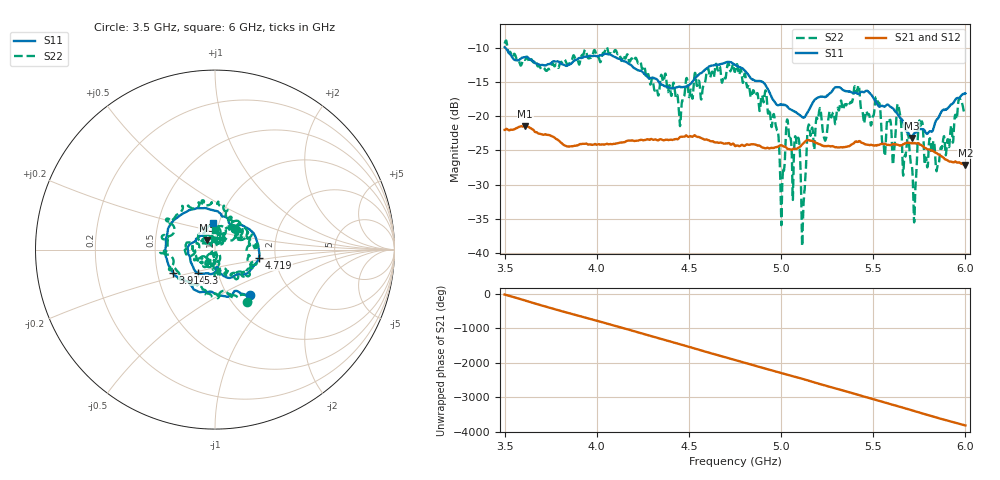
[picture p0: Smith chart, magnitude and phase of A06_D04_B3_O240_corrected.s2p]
! Created with skrf 1.9.0 (http://scikit-rf.org).
# Hz S RI R 50.0
!freq ReS11 ImS11 ReS21 ImS21 ReS12 ImS12 ReS22 ImS22
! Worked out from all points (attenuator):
!   1601 points, 3.5 GHz to 6 GHz, reference 50 ohm
!   highest |S21| = -21.45 dB at 3.611 GHz (marker M1); lowest = -27.1 dB at 6 GHz (marker M2)
!   lowest |S11| = -23.2 dB at 5.708 GHz (marker M3), VSWR 1.15, Z = 45.3 + j4.68 ohm
!   |S11| at or under -10 dB: 3.505 GHz to end of sweep
!   |S22| runs from -39.0 to -8.9 dB; largest |S21 - S12| = 0.0011
!   S11 on the Smith chart (normalised r, x): 3.5 GHz: 1.26, -0.71; 3.914 GHz: 0.60, -0.17; 4.719 GHz: 1.64, -0.15; 5.3 GHz: 0.80, -0.22; 6 GHz: 0.94, +0.28
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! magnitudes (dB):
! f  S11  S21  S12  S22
! 3.5 GHz  -9.9  -22.0  -22.0  -9.4
! 3.611 GHz  -11.3  -21.5  -21.5  -11.8
! 3.914 GHz  -11.5  -24.1  -24.0  -11.4
! 3.917 GHz  -11.5  -24.1  -24.1  -11.1
! 4.334 GHz  -14.9  -23.5  -23.4  -17.0
! 4.719 GHz  -12.1  -23.9  -24.0  -12.6
! 4.75 GHz  -12.5  -24.4  -24.3  -13.5
! 4.969 GHz  -18.1  -24.6  -24.5  -21.1
! 5.006 GHz  -18.3  -24.3  -24.3  -30.1
! 5.036 GHz  -18.7  -24.8  -24.7  -20.6
! 5.088 GHz  -19.6  -24.7  -24.7  -23.6
! 5.119 GHz  -20.2  -24.0  -23.9  -35.0
! 5.167 GHz  -18.3  -23.6  -23.6  -21.7
! 5.3 GHz  -15.8  -24.5  -24.5  -19.9
! 5.584 GHz  -18.4  -24.2  -24.1  -20.7
! 5.611 GHz  -19.0  -24.1  -24.0  -25.8
! 5.639 GHz  -20.0  -24.3  -24.2  -18.8
! 5.708 GHz  -23.2  -24.0  -23.9  -27.1
! 5.727 GHz  -22.4  -24.0  -23.9  -31.8
! 5.756 GHz  -21.9  -24.2  -24.1  -21.4
! 5.848 GHz  -20.4  -25.5  -25.4  -27.3
! 6 GHz  -16.7  -27.1  -27.0  -19.4
